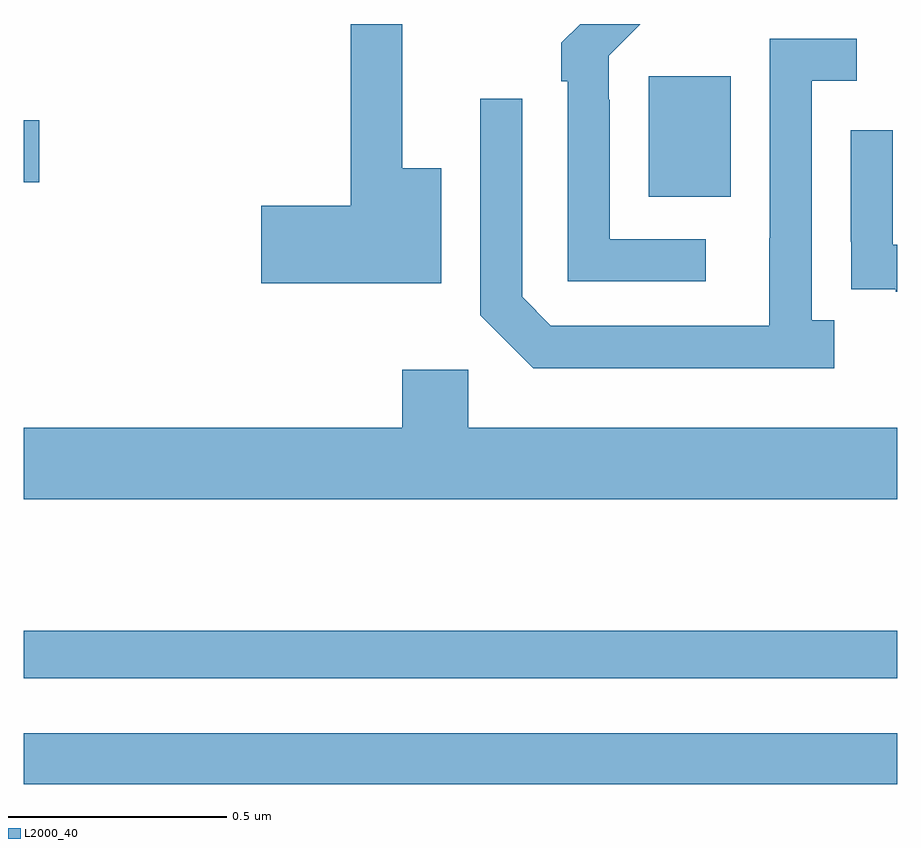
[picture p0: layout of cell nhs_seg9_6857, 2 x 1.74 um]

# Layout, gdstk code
import gdstk
lib = gdstk.Library(unit=1e-6, precision=1e-09)
def R(c, l, rs):  # rectangles x0, y0, x1, y1
    for r in rs: c.add(gdstk.rectangle(r[:2], r[2:], *l))
def P(c, l, *ps):  # polygons
    for p in ps: c.add(gdstk.Polygon(p, *l))
L2000_40 = (2000, 40)

nhs_seg9_6857 = lib.new_cell('nhs_seg9_6857')
R(nhs_seg9_6857, L2000_40, [(197,1203.76,199,1203.876), (197,1204.002,199,1204.111), (198.431,1205.105,198.619,1205.38), (197,1205.138,197.035,1205.28)])
P(nhs_seg9_6857, L2000_40, [(197.956,1205.17),(197.867,1205.17),(197.867,1205.5),(197.749,1205.5),(197.749,1205.084),(197.544,1205.084),(197.544,1204.906),(197.956,1204.906)],
  [(198.562,1205.007),(198.342,1205.007),(198.342,1205.327),(198.339,1205.327),(198.339,1205.427),(198.412,1205.5),(198.274,1205.5),(198.231,1205.457),(198.231,1205.369),(198.246,1205.369),(198.246,1204.911),(198.562,1204.911)],
  [(198.856,1204.822),(198.804,1204.822),(198.804,1205.37),(198.907,1205.37),(198.907,1205.466),(198.708,1205.466),(198.708,1205.009),(198.707,1205.009),(198.707,1204.809),(198.207,1204.809),(198.141,1204.875),(198.141,1205.329),(198.045,1205.329),(198.045,1204.833),(198.166,1204.712),(198.856,1204.712)],
  [(199,1204.995),(198.99,1204.995),(198.99,1205.257),(198.894,1205.257),(198.894,1205.002),(198.895,1205.002),(198.895,1204.893),(198.997,1204.893),(198.997,1204.887),(199,1204.887)],
  [(199,1204.576),(198.018,1204.576),(198.018,1204.708),(197.867,1204.708),(197.867,1204.576),(197,1204.576),(197,1204.412),(199,1204.412)])

lib.write_gds('nhs_seg9_6857.gds')
